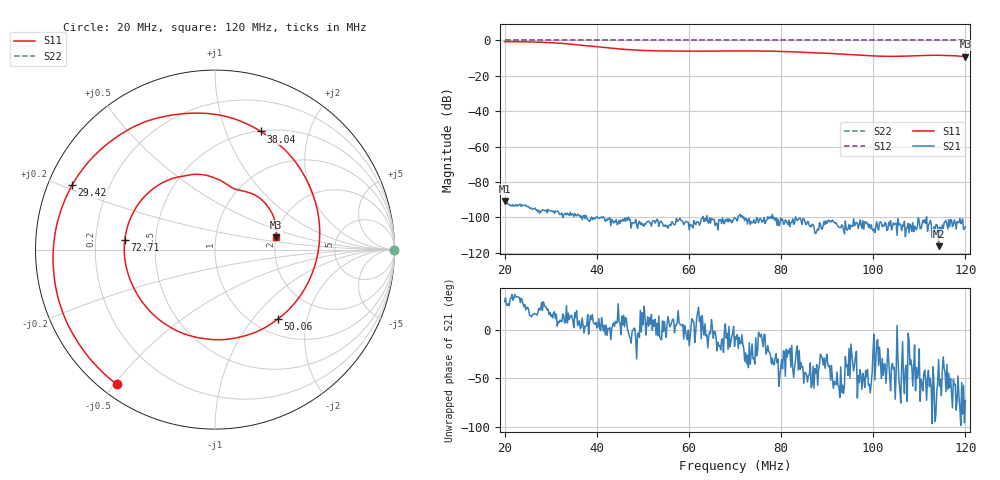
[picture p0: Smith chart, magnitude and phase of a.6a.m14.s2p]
! Anritsu VNA Master:  Model: MS2036C/10/77
! SN:  1601066
! /bd0/18may07/256.ew.m14.s2p
! Existing Calibration Information:
! TYPE:  Current Settings,  Active Cal Settings
! TIME:  05/07/2018 02:30:43 PM,  05/07/2018 02:21:54 PM
! INTERNAL TEMP:  56.8 C,  55.5 C
! # POINTS:  500,  500
! START FREQ:  20.000 MHz,  20.000 MHz
! STOP FREQ:  120.000 MHz,  120.000 MHz
! SOURCE POWER:  High,  High
! IFBW:  50 Hz,  50 Hz
! AVG FACTOR:  1 ,  1
! REF PLANE 1:  0 mm,  0 mm
! REF PLANE 2:  0 mm,  0 mm
! CAL TYPE:  Full S11,  Full S11
! CAL METHOD:  SOLT,  SOLT
! CAL LINE TYPE:  Coax,  Coax
! DUT PORT 1:  K-Conn(F),  K-Conn(F)
! DUT PORT 2:  K-Conn(F),  K-Conn(F)
! CAL STATUS:  OK: Accuracy High,  --
# GHZ S DB R 50.0
! FREQ.GHZ  S11DB  S11A  S21DB  S21A  S12DB  S12A  S22DB  S22A
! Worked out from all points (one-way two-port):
!   500 points, 20 MHz to 120 MHz, reference 50 ohm
!   highest |S21| = -90.83 dB at 20 MHz (marker M1); lowest = -116.3 dB at 114.2 MHz (marker M2)
!   lowest |S11| = -9.2 dB at 120 MHz (marker M3), VSWR 2.05, Z = 99.4 + j15.7 ohm
!   |S11| at or under -10 dB: nowhere
!   |S22| runs from 0.0 to 0.0 dB; largest |S21 - S12| = 1
!   S11 on the Smith chart (normalised r, x): 20 MHz: 0.05, -0.51; 29.42 MHz: 0.07, +0.21; 38.04 MHz: 0.51, +1.33; 50.06 MHz: 1.27, -1.35; 72.71 MHz: 0.33, +0.05; 120 MHz: 1.99, +0.31
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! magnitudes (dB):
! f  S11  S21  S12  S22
! 20 MHz  -0.7  -90.8  0.0  0.0
! 24.81 MHz  -0.8  -93.9  0.0  0.0
! 29.42 MHz  -1.2  -95.6  0.0  0.0
! 33.03 MHz  -1.8  -98.1  0.0  0.0
! 36.83 MHz  -2.7  -101.4  0.0  0.0
! 38.04 MHz  -3.0  -101.4  0.0  0.0
! 44.85 MHz  -4.8  -101.7  0.0  0.0
! 50.06 MHz  -5.6  -103.8  0.0  0.0
! 53.47 MHz  -5.9  -105.2  0.0  0.0
! 60.48 MHz  -6.0  -104.3  0.0  0.0
! 70.1 MHz  -5.9  -100.5  0.0  0.0
! 72.71 MHz  -5.9  -103.8  0.0  0.0
! 79.32 MHz  -6.1  -101.0  0.0  0.0
! 86.73 MHz  -6.9  -103.9  0.0  0.0
! 90.94 MHz  -7.4  -102.6  0.0  0.0
! 99.96 MHz  -8.7  -107.6  0.0  0.0
! 103.4 MHz  -9.0  -102.9  0.0  0.0
! 106.8 MHz  -8.9  -102.3  0.0  0.0
! 111.6 MHz  -8.4  -99.7  0.0  0.0
! 114.2 MHz  -8.4  -116.3  0.0  0.0
! 117.4 MHz  -8.6  -103.9  0.0  0.0
! 120 MHz  -9.2  -105.4  0.0  0.0
